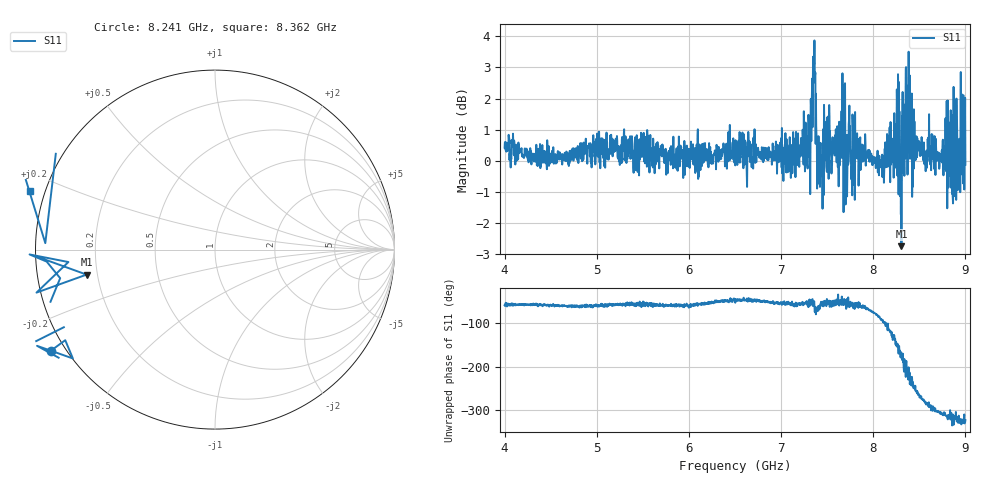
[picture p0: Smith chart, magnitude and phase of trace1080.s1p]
! Created with skrf 1.8.0 (http://scikit-rf.org).
# Hz S RI R 50.0
!freq ReS11 ImS11
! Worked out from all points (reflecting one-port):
!   1601 points, 4 GHz to 9 GHz, reference 50 ohm
!   lowest |S11| = -2.7 dB at 8.306 GHz (marker M1), VSWR 6.38, Z = 7.91 - j4.7 ohm
!   phase of S11 starts at -59 deg and turns -264 deg over the sweep
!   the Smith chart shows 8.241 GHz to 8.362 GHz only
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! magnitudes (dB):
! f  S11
! 4 GHz  0.4
! 4.625 GHz  -0.1
! 5.25 GHz  -0.1
! 5.875 GHz  0.2
! 6.5 GHz  0.5
! 7.125 GHz  0.2
! 7.294 GHz  0.6
! 7.347 GHz  3.3
! 7.369 GHz  2.8
! 7.4 GHz  0.0
! 7.428 GHz  0.6
! 7.481 GHz  0.0
! 7.6 GHz  0.5
! 7.669 GHz  1.2
! 7.703 GHz  0.5
! 7.75 GHz  0.4
! 7.775 GHz  1.5
! 8.094 GHz  -0.1
! 8.259 GHz  1.6
! 8.306 GHz  -2.7
! 8.325 GHz  1.5
! 8.334 GHz  0.3
! 8.375 GHz  0.5
! 8.447 GHz  1.3
! 8.562 GHz  -0.1
! 8.875 GHz  0.0
! 8.972 GHz  0.9
! 9 GHz  -0.1
